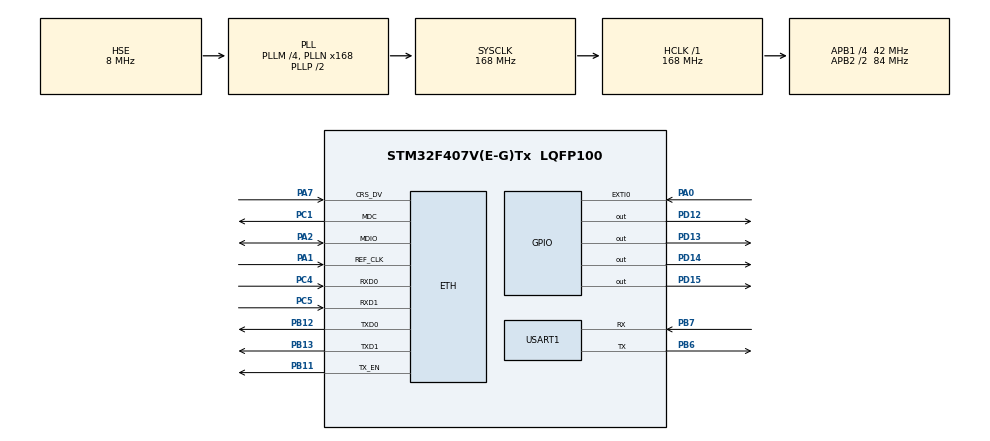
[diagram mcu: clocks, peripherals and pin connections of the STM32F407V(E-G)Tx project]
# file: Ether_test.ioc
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ETH.MediaInterface=HAL_ETH_RMII_MODE
ETH.RxMode=ETH_RXINTERRUPT_MODE
Mcu.Family=STM32F4
Mcu.Name=STM32F407V(E-G)Tx
Mcu.Package=LQFP100
NVIC.ETH_IRQn=true\:0\:0\:false\:false\:true\:true\:true\:true
NVIC.EXTI0_IRQn=true\:0\:0\:false\:false\:true\:true\:true\:true
NVIC.PriorityGroup=NVIC_PRIORITYGROUP_0
NVIC.TIM6_DAC_IRQn=true\:0\:0\:false\:false\:true\:true\:true\:true
PA0-WKUP.Signal=GPXTI0
PA1.Mode=RMII
PA1.Signal=ETH_REF_CLK
PA13.Mode=Serial_Wire
PA13.Signal=SYS_JTMS-SWDIO
PA14.Mode=Serial_Wire
PA14.Signal=SYS_JTCK-SWCLK
PA2.Mode=RMII
PA2.Signal=ETH_MDIO
PA7.Mode=RMII
PA7.Signal=ETH_CRS_DV
PB11.Mode=RMII
PB11.Signal=ETH_TX_EN
PB12.Mode=RMII
PB12.Signal=ETH_TXD0
PB13.Mode=RMII
PB13.Signal=ETH_TXD1
PB6.Mode=Asynchronous
PB6.Signal=USART1_TX
PB7.Mode=Asynchronous
PB7.Signal=USART1_RX
PC1.Mode=RMII
PC1.Signal=ETH_MDC
PC4.Mode=RMII
PC4.Signal=ETH_RXD0
PC5.Mode=RMII
PC5.Signal=ETH_RXD1
PD12.Signal=GPIO_Output
PD13.Signal=GPIO_Output
PD14.Signal=GPIO_Output
PD15.Signal=GPIO_Output
PH0-OSC_IN.Mode=HSE-External-Oscillator
PH0-OSC_IN.Signal=RCC_OSC_IN
PH1-OSC_OUT.Mode=HSE-External-Oscillator
PH1-OSC_OUT.Signal=RCC_OSC_OUT
ProjectManager.HeapSize=0x4000
ProjectManager.StackSize=0x4000
ProjectManager.TargetToolchain=STM32CubeIDE
RCC.48MHZClocksFreq_Value=48000000
RCC.AHBFreq_Value=168000000
RCC.APB1CLKDivider=RCC_HCLK_DIV4
RCC.APB1Freq_Value=42000000
RCC.APB1TimFreq_Value=84000000
RCC.APB2CLKDivider=RCC_HCLK_DIV2
RCC.APB2Freq_Value=84000000
RCC.APB2TimFreq_Value=168000000
RCC.CortexFreq_Value=168000000
RCC.HCLKFreq_Value=168000000
RCC.HSE_VALUE=8000000
RCC.HSI_VALUE=16000000
RCC.LSE_VALUE=32768
RCC.PLLM=4
RCC.PLLN=168
RCC.PLLQ=7
RCC.PLLSourceVirtual=RCC_PLLSOURCE_HSE
RCC.SYSCLKFreq_VALUE=168000000
RCC.SYSCLKSource=RCC_SYSCLKSOURCE_PLLCLK
RCC.VCOOutputFreq_Value=336000000
TIM6.AutoReloadPreload=TIM_AUTORELOAD_PRELOAD_ENABLE
TIM6.Period=500
TIM6.Prescaler=65535
USART1.VirtualMode=VM_ASYNC
VP_TIM6_VS_ClockSourceINT.Mode=Enable_Timer
VP_TIM6_VS_OPM.Mode=OPM_bit
board=STM32F407G-DISC1

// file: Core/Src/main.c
/* USER CODE BEGIN Header */
/**
  ******************************************************************************
  * @file           : main.c
  * @brief          : Main program body
  ******************************************************************************
  * @attention
  *
  * Copyright (c) 2024 STMicroelectronics.
  * All rights reserved.
  *
  * This software is licensed under terms that can be found in the LICENSE file
  * in the root directory of this software component.
  * If no LICENSE file comes with this software, it is provided AS-IS.
  *
  ******************************************************************************
  */
/* USER CODE END Header */
#include "main.h"
#include "string.h"

/* USER CODE BEGIN PTD */
#define BUFF_LEN 0x600
typedef struct {
    int32_t frame_len;
    uint8_t buffer[BUFF_LEN]__ALIGNED(32);
} ETH_AppBuff;
typedef struct {
    uint8_t dest_mac[6];
    uint8_t src_mac[6];
    uint8_t type[2];
    uint8_t payload[BUFF_LEN];
} ethernet_frame_t;

/* USER CODE END PTD */

/* USER CODE BEGIN PD */
#define DEGUG_MESSAGE_ON

#ifdef __GNUC__
#define PUTCHAR_PROTOTYPE int __io_putchar(int ch)
#else
#define PUTCHAR_PROTOTYPE int fputc(int ch, FILE *f)
#endif
/* USER CODE END PD */

ETH_TxPacketConfig TxConfig;
ETH_DMADescTypeDef  DMARxDscrTab[ETH_RX_DESC_CNT]; /* Ethernet Rx DMA Descriptors */
ETH_DMADescTypeDef  DMATxDscrTab[ETH_TX_DESC_CNT]; /* Ethernet Tx DMA Descriptors */

ETH_HandleTypeDef heth;

TIM_HandleTypeDef htim6;

UART_HandleTypeDef huart1;

void SystemClock_Config(void);
static void MX_GPIO_Init(void);
static void MX_USART1_UART_Init(void);
static void MX_TIM6_Init(void);
static void MX_ETH_Init(void);
/* USER CODE BEGIN PFP */
int32_t ETH_PHY_INTERFACE_Init(void);
int32_t ETH_PHY_INTERFACE_DeInit(void);
int32_t ETH_PHY_INTERFACE_ReadReg(uint32_t DevAddr, uint32_t RegAddr,
		uint32_t *pRegVal);
int32_t ETH_PHY_INTERFACE_WriteReg(uint32_t DevAddr, uint32_t RegAddr,
		uint32_t RegVal);
int32_t ETH_PHY_INTERFACE_GetTick(void);
void ETH_StartLink();
void ETH_ConstructEthernetFrame(ethernet_frame_t *frame, uint8_t *dest_mac,
		uint8_t *src_mac, uint8_t *type, uint8_t *payload, uint16_t payload_len);

/* USER CODE END PFP */

/* USER CODE BEGIN 0 */
lan8742_Object_t LAN8742;
lan8742_IOCtx_t  LAN8742_IOCtx = {ETH_PHY_INTERFACE_Init,
                                  ETH_PHY_INTERFACE_DeInit,
                                  ETH_PHY_INTERFACE_WriteReg,
                                  ETH_PHY_INTERFACE_ReadReg,
                                  ETH_PHY_INTERFACE_GetTick};
//static int inc = 0; // NOTE для счетчика принятых/отправленных кадров
ETH_BufferTypeDef *frame_Rx=NULL;
ETH_AppBuff *buff_Rx=NULL;
uint8_t resive_status = 0;

/**
  * @brief Overload callback for
  * @retval None
  */
int __io_putchar(int ch)
{
  /* Place your implementation of fputc here */
  /* e.g. write a character to the USART1 and Loop until the end of transmission */
  HAL_UART_Transmit(&huart1, (uint8_t *)&ch, 1, 0xFFFF);
  return ch;
}

/* USER CODE END 0 */

int main(void)
{
  /* USER CODE BEGIN 1 */
	ETH_BufferTypeDef TxBuffer;
	ethernet_frame_t frame;
	uint8_t dest_mac[] = { 0x00, 0x80, 0xE1, 0x00, 0x00, 0x10 }; // Destination MAC Address
	uint8_t src_mac[] = { 0x00, 0x80, 0xE1, 0x00, 0x00, 0x00 }; // Source MAC Address
	uint8_t type[] = { 0x08, 0x00 }; // EtherType set to IPV4 packet
	uint8_t payload[] = { 0x54, 0x65, 0x73, 0x74, 0x69, 0x6e, 0x67, 0x20, 0x45,
			0x74, 0x68, 0x65, 0x72, 0x6e, 0x65, 0x74, 0x20, 0x6f, 0x6e, 0x20,
			0x53, 0x54, 0x4d, 0x33, 0x32 };
	uint16_t payload_len = sizeof(payload);

  /* USER CODE END 1 */

  /* MCU Configuration--------------------------------------------------------*/

  /* Reset of all peripherals, Initializes the Flash interface and the Systick. */
  HAL_Init();

  /* Configure the system clock */
  SystemClock_Config();

  /* Initialize all configured peripherals */
  MX_GPIO_Init();
  MX_USART1_UART_Init();
  MX_TIM6_Init();
  MX_ETH_Init();
  /* USER CODE BEGIN 2 */
  printf("Program started!\n\r");
  fflush(0);
//  HAL_TIM_Base_Start_IT(&htim6);
  HAL_TIM_OnePulse_Start_IT(&htim6, TIM_CHANNEL_ALL);

  ETH_ConstructEthernetFrame(&frame, dest_mac, src_mac, type, payload, payload_len);
  TxBuffer.buffer = (uint8_t *)&frame;
  TxBuffer.len = sizeof(dest_mac) + sizeof(src_mac) + sizeof(type) + payload_len;
  TxBuffer.next = NULL;
  TxConfig.TxBuffer = &TxBuffer;

  /* USER CODE END 2 */

  /* Infinite loop */
  /* USER CODE BEGIN WHILE */
  while (1)
  {
	  if (resive_status != 0){
		  resive_status  = 0;

		  printf("Len of frame %li, adress is %lx !\n\r", buff_Rx->frame_len, (uint32_t)buff_Rx->buffer);
	  }

    /* USER CODE END WHILE */

  }
}

void SystemClock_Config(void)
{
  RCC_OscInitTypeDef RCC_OscInitStruct = {0};
  RCC_ClkInitTypeDef RCC_ClkInitStruct = {0};

  /** Configure the main internal regulator output voltage
  */
  __HAL_RCC_PWR_CLK_ENABLE();
  __HAL_PWR_VOLTAGESCALING_CONFIG(PWR_REGULATOR_VOLTAGE_SCALE1);

  /** Initializes the RCC Oscillators according to the specified parameters
  * in the RCC_OscInitTypeDef structure.
  */
  RCC_OscInitStruct.OscillatorType = RCC_OSCILLATORTYPE_HSE;
  RCC_OscInitStruct.HSEState = RCC_HSE_ON;
  RCC_OscInitStruct.PLL.PLLState = RCC_PLL_ON;
  RCC_OscInitStruct.PLL.PLLSource = RCC_PLLSOURCE_HSE;
  RCC_OscInitStruct.PLL.PLLM = 4;
  RCC_OscInitStruct.PLL.PLLN = 168;
  RCC_OscInitStruct.PLL.PLLP = RCC_PLLP_DIV2;
  RCC_OscInitStruct.PLL.PLLQ = 7;
  if (HAL_RCC_OscConfig(&RCC_OscInitStruct) != HAL_OK)
  {
    Error_Handler();
  }

  /** Initializes the CPU, AHB and APB buses clocks
  */
  RCC_ClkInitStruct.ClockType = RCC_CLOCKTYPE_HCLK|RCC_CLOCKTYPE_SYSCLK
                              |RCC_CLOCKTYPE_PCLK1|RCC_CLOCKTYPE_PCLK2;
  RCC_ClkInitStruct.SYSCLKSource = RCC_SYSCLKSOURCE_PLLCLK;
  RCC_ClkInitStruct.AHBCLKDivider = RCC_SYSCLK_DIV1;
  RCC_ClkInitStruct.APB1CLKDivider = RCC_HCLK_DIV4;
  RCC_ClkInitStruct.APB2CLKDivider = RCC_HCLK_DIV2;

  if (HAL_RCC_ClockConfig(&RCC_ClkInitStruct, FLASH_LATENCY_5) != HAL_OK)
  {
    Error_Handler();
  }
}

static void MX_ETH_Init(void)
{

   static uint8_t MACAddr[6];

  heth.Instance = ETH;
  MACAddr[0] = 0x00;
  MACAddr[1] = 0x80;
  MACAddr[2] = 0xE1;
  MACAddr[3] = 0x00;
  MACAddr[4] = 0x00;
  MACAddr[5] = 0x00;
  heth.Init.MACAddr = &MACAddr[0];
  heth.Init.MediaInterface = HAL_ETH_RMII_MODE;
  heth.Init.TxDesc = DMATxDscrTab;
  heth.Init.RxDesc = DMARxDscrTab;
  heth.Init.RxBuffLen = 1524;

  /* USER CODE BEGIN MACADDRESS */
  heth.Init.RxBuffLen = 0x600; // TODO переопределить в коде так как такая длинна буфера захардкожена в HAL'e

  /* USER CODE END MACADDRESS */

  if (HAL_ETH_Init(&heth) != HAL_OK)
  {
    Error_Handler();
  }

  memset(&TxConfig, 0 , sizeof(ETH_TxPacketConfig));
  TxConfig.Attributes = ETH_TX_PACKETS_FEATURES_CSUM | ETH_TX_PACKETS_FEATURES_CRCPAD;
  TxConfig.ChecksumCtrl = ETH_CHECKSUM_IPHDR_PAYLOAD_INSERT_PHDR_CALC;
  TxConfig.CRCPadCtrl = ETH_CRC_PAD_INSERT;
  /* USER CODE BEGIN ETH_Init 2 */
	/* Set PHY IO functions */
	LAN8742_RegisterBusIO(&LAN8742, &LAN8742_IOCtx);
	/* Initialize the LAN8742 ETH PHY */
	LAN8742_Init(&LAN8742);
	/* Initialize link speed negotiation and start Ethernet peripheral */
	ETH_StartLink();

  /* USER CODE END ETH_Init 2 */

}

static void MX_TIM6_Init(void)
{

  TIM_MasterConfigTypeDef sMasterConfig = {0};

  htim6.Instance = TIM6;
  htim6.Init.Prescaler = 65535;
  htim6.Init.CounterMode = TIM_COUNTERMODE_UP;
  htim6.Init.Period = 500;
  htim6.Init.AutoReloadPreload = TIM_AUTORELOAD_PRELOAD_ENABLE;
  if (HAL_TIM_Base_Init(&htim6) != HAL_OK)
  {
    Error_Handler();
  }
  if (HAL_TIM_OnePulse_Init(&htim6, TIM_OPMODE_SINGLE) != HAL_OK)
  {
    Error_Handler();
  }
  sMasterConfig.MasterOutputTrigger = TIM_TRGO_RESET;
  sMasterConfig.MasterSlaveMode = TIM_MASTERSLAVEMODE_DISABLE;
  if (HAL_TIMEx_MasterConfigSynchronization(&htim6, &sMasterConfig) != HAL_OK)
  {
    Error_Handler();
  }

}

static void MX_USART1_UART_Init(void)
{

  huart1.Instance = USART1;
  huart1.Init.BaudRate = 115200;
  huart1.Init.WordLength = UART_WORDLENGTH_8B;
  huart1.Init.StopBits = UART_STOPBITS_1;
  huart1.Init.Parity = UART_PARITY_NONE;
  huart1.Init.Mode = UART_MODE_TX_RX;
  huart1.Init.HwFlowCtl = UART_HWCONTROL_NONE;
  huart1.Init.OverSampling = UART_OVERSAMPLING_16;
  if (HAL_UART_Init(&huart1) != HAL_OK)
  {
    Error_Handler();
  }

}

static void MX_GPIO_Init(void)
{
  GPIO_InitTypeDef GPIO_InitStruct = {0};

  /* GPIO Ports Clock Enable */
  __HAL_RCC_GPIOH_CLK_ENABLE();
  __HAL_RCC_GPIOC_CLK_ENABLE();
  __HAL_RCC_GPIOA_CLK_ENABLE();
  __HAL_RCC_GPIOB_CLK_ENABLE();
  __HAL_RCC_GPIOD_CLK_ENABLE();

  /*Configure GPIO pin Output Level */
  HAL_GPIO_WritePin(GPIOD, GPIO_PIN_12|GPIO_PIN_13|GPIO_PIN_14|GPIO_PIN_15, GPIO_PIN_RESET);

  /*Configure GPIO pin : PA0 */
  GPIO_InitStruct.Pin = GPIO_PIN_0;
  GPIO_InitStruct.Mode = GPIO_MODE_IT_RISING;
  GPIO_InitStruct.Pull = GPIO_NOPULL;
  HAL_GPIO_Init(GPIOA, &GPIO_InitStruct);

  /*Configure GPIO pins : PD12 PD13 PD14 PD15 */
  GPIO_InitStruct.Pin = GPIO_PIN_12|GPIO_PIN_13|GPIO_PIN_14|GPIO_PIN_15;
  GPIO_InitStruct.Mode = GPIO_MODE_OUTPUT_PP;
  GPIO_InitStruct.Pull = GPIO_NOPULL;
  GPIO_InitStruct.Speed = GPIO_SPEED_FREQ_LOW;
  HAL_GPIO_Init(GPIOD, &GPIO_InitStruct);

  /* EXTI interrupt init*/
  HAL_NVIC_SetPriority(EXTI0_IRQn, 0, 0);
  HAL_NVIC_EnableIRQ(EXTI0_IRQn);

}

/* USER CODE BEGIN 4 */

void ETH_ConstructEthernetFrame(ethernet_frame_t * frame, uint8_t * dest_mac, uint8_t * src_mac, uint8_t * type, uint8_t * payload, uint16_t payload_len)
{
  // Copy the destination MAC address
  memcpy(frame -> dest_mac, dest_mac, 6);
  // Copy the source MAC address
  memcpy(frame -> src_mac, src_mac, 6);
  // Set the Ethernet type field
  memcpy(frame -> type, type, 2);
  // Copy the payload data
  memcpy(frame -> payload, payload, payload_len);
}

/*************PHY_INIT_START**********************/

int32_t ETH_PHY_INTERFACE_Init(void)
{
  /* Configure the MDIO Clock */
  HAL_ETH_SetMDIOClockRange(&heth);
  return 0;
}
int32_t ETH_PHY_INTERFACE_DeInit (void)
{
  return 0;
}
int32_t ETH_PHY_INTERFACE_ReadReg(uint32_t DevAddr, uint32_t RegAddr, uint32_t *pRegVal)
{
  if(HAL_ETH_ReadPHYRegister(&heth, DevAddr, RegAddr, pRegVal) != HAL_OK)
  {
    return -1;
  }
  return 0;
}
int32_t ETH_PHY_INTERFACE_WriteReg(uint32_t DevAddr, uint32_t RegAddr, uint32_t RegVal)
{
  if(HAL_ETH_WritePHYRegister(&heth, DevAddr, RegAddr, RegVal) != HAL_OK)
  {
    return -1;
  }
  return 0;
}
int32_t ETH_PHY_INTERFACE_GetTick(void)
{
  return HAL_GetTick();
}

void ETH_StartLink() {
	ETH_MACConfigTypeDef MACConf = { 0 };
	int32_t PHYLinkState = LAN8742_GetLinkState(&LAN8742);
	if (PHYLinkState <= LAN8742_STATUS_LINK_DOWN)
	{
		HAL_ETH_Stop(&heth);
	}
	else if (PHYLinkState > LAN8742_STATUS_LINK_DOWN)
	{
		uint32_t linkchanged = 0U;
		uint32_t speed = 0U;
		uint32_t duplex = 0U;
		switch (PHYLinkState) {
		case LAN8742_STATUS_100MBITS_FULLDUPLEX:
			duplex = ETH_FULLDUPLEX_MODE;
			speed = ETH_SPEED_100M;
			linkchanged = 1;
			break;
		case LAN8742_STATUS_100MBITS_HALFDUPLEX:
			duplex = ETH_HALFDUPLEX_MODE;
			speed = ETH_SPEED_100M;
			linkchanged = 1;
			break;
		case LAN8742_STATUS_10MBITS_FULLDUPLEX:
			duplex = ETH_FULLDUPLEX_MODE;
			speed = ETH_SPEED_10M;
			linkchanged = 1;
			break;
		case LAN8742_STATUS_10MBITS_HALFDUPLEX:
			duplex = ETH_HALFDUPLEX_MODE;
			speed = ETH_SPEED_10M;
			linkchanged = 1;
			break;
		default:
			break;
		}
		if (linkchanged) {
			HAL_ETH_GetMACConfig(&heth, &MACConf);
			MACConf.DuplexMode = duplex;
			MACConf.Speed = speed;
			MACConf.DropTCPIPChecksumErrorPacket = DISABLE;
			MACConf.ForwardRxErrorPacket = ENABLE;   //FEP Bit
			MACConf.ForwardRxUndersizedGoodPacket = ENABLE;
			MACConf.LoopbackMode= DISABLE;
			HAL_ETH_SetMACConfig(&heth, &MACConf);
			HAL_ETH_Start_IT(&heth);
		}
	}
}

/*************PHY_INIT_STOP**********************/

/*************CALBACK_OVERLOAD_START**********************/

void HAL_GPIO_EXTI_Callback(uint16_t GPIO_Pin) {
	if (GPIO_Pin == GPIO_PIN_0) {
		HAL_NVIC_DisableIRQ(EXTI0_IRQn);

		// Clear interrupt bit in SR that was set as a side effect of generating an update event in TIM_Base_SetConfig
		__HAL_TIM_CLEAR_IT(&htim6, TIM_IT_UPDATE);
		// enable timer update interrupt
		__HAL_TIM_ENABLE_IT(&htim6, TIM_IT_UPDATE);
		__HAL_TIM_ENABLE(&htim6);

	    HAL_ETH_Transmit_IT( & heth, & TxConfig);
	    HAL_ETH_ReleaseTxPacket( & heth);

		HAL_GPIO_TogglePin(GPIOD,
				GPIO_PIN_12 | GPIO_PIN_13 | GPIO_PIN_14 | GPIO_PIN_15);
#ifdef DEGUG_MESSAGE_ON
		printf("Button was been pushed!\n\r");
		fflush(0);
#endif /*DEGUG_MESSAGE_ON*/
//      HAL_ETH_Transmit_IT(&heth, &TxConfig);
//      HAL_ETH_ReleaseTxPacket(&heth);

	} else {
		__NOP();
	}
}
void HAL_TIM_PeriodElapsedCallback(TIM_HandleTypeDef *htim) {
	if (htim == &htim6) // check source
		{
		__HAL_GPIO_EXTI_CLEAR_IT(GPIO_PIN_0); // NOTE отчистим предыдущие значение если оно там было
		HAL_NVIC_EnableIRQ(EXTI0_IRQn);
#ifdef DEGUG_MESSAGE_ON
		printf("Timer interrupt was accrued !\n\r");
		fflush(0);
#endif /*DEGUG_MESSAGE_ON*/

	} else {
		__NOP();
	}
}

/*************ETHERNET_CALBACK_OVERLOAD_START**********************/

/**
  * @brief  Rx Allocate callback.
  * @param  buff: pointer to allocated buffer
  * @retval None
  */
void HAL_ETH_RxAllocateCallback(uint8_t ** buff) {
//#define RxAllocateCallback_OLD
#ifdef RxAllocateCallback_OLD
  ETH_BufferTypeDef * p = malloc(BUFF_LEN * sizeof(uint8_t) + sizeof(uint8_t));
  if (p)
  {
    * buff = (uint8_t * ) p + offsetof(ETH_AppBuff, buffer);
    p -> next = NULL;
    p -> len = BUFF_LEN;
  } else {
    * buff = NULL;
  }
#else
	ETH_AppBuff *p = malloc(sizeof(ETH_AppBuff));
	if (p)
	{
		*buff = p->buffer;
		p->frame_len = BUFF_LEN;
	}
	else
	{
		*buff = NULL;
	}
#endif /*RxAllocateCallback_OLD*/
}

/**
  * @brief  Rx Link callback.
  * @param  pStart: pointer to packet start
  * @param  pStart: pointer to packet end
  * @param  buff: pointer to received data
  * @param  Length: received data length
  * @retval None
  */
void HAL_ETH_RxLinkCallback(void ** pStart, void ** pEnd, uint8_t * buff, uint16_t Length)
{
//#define RxAllocateCallback_OLD
//#define RxLinkCallback_OLD
#ifdef RxLinkCallback_OLD
  ETH_BufferTypeDef ** ppStart = (ETH_BufferTypeDef ** ) pStart;
  ETH_BufferTypeDef ** ppEnd = (ETH_BufferTypeDef ** ) pEnd;
  ETH_BufferTypeDef * p = NULL;
  p = (ETH_BufferTypeDef * )(buff - offsetof(ETH_AppBuff, buffer));
  p -> next = NULL;
  p -> len = BUFF_LEN;
  if (! * ppStart)
  {
    * ppStart = p;
  } else
  {
    ( * ppEnd) -> next = p;
  }
  * ppEnd = p;
#else // NOTE исходим из того что кадр будет всегда помещатся в буфер !!
  ETH_AppBuff ** ppStart = (ETH_AppBuff ** ) pStart;
  UNUSED(pEnd);
  *ppStart = (ETH_AppBuff *)(buff - offsetof(ETH_AppBuff, buffer));
  (*ppStart)->frame_len = Length;
#endif /*RxLinkCallback_OLD*/
}

/**
  * @brief  Tx Transfer completed callbacks.
  * @param  heth: pointer to a ETH_HandleTypeDef structure that contains
  *         the configuration information for ETHERNET module
  * @retval None
  */
void HAL_ETH_TxCpltCallback(ETH_HandleTypeDef * heth)
{
  printf("Packet Transmitted successfully!\r\n");
  fflush(0);
}

/**
  * @brief  Rx Transfer completed callbacks.
  * @param  heth: pointer to a ETH_HandleTypeDef structure that contains
  *         the configuration information for ETHERNET module
  * @retval None
  */
void HAL_ETH_RxCpltCallback(ETH_HandleTypeDef * heth)
{
  printf("Packet Received successfully!\r\n");
  fflush(0);
  if( HAL_ETH_ReadData(heth, (void ** ) & buff_Rx) != HAL_OK)
  {
	  HAL_ETH_GetError(heth);
	  HAL_ETH_GetDMAError(heth);
  }
  else
  {
	  resive_status = 1;
  }
}

/*************ETHERNET_CALBACK_OVERLOAD_END**********************/

/*************CALBACK_OVERLOAD_STOP**********************/

/* USER CODE END 4 */

void Error_Handler(void)
{
  __disable_irq();
  while (1)
  {
  }
}
